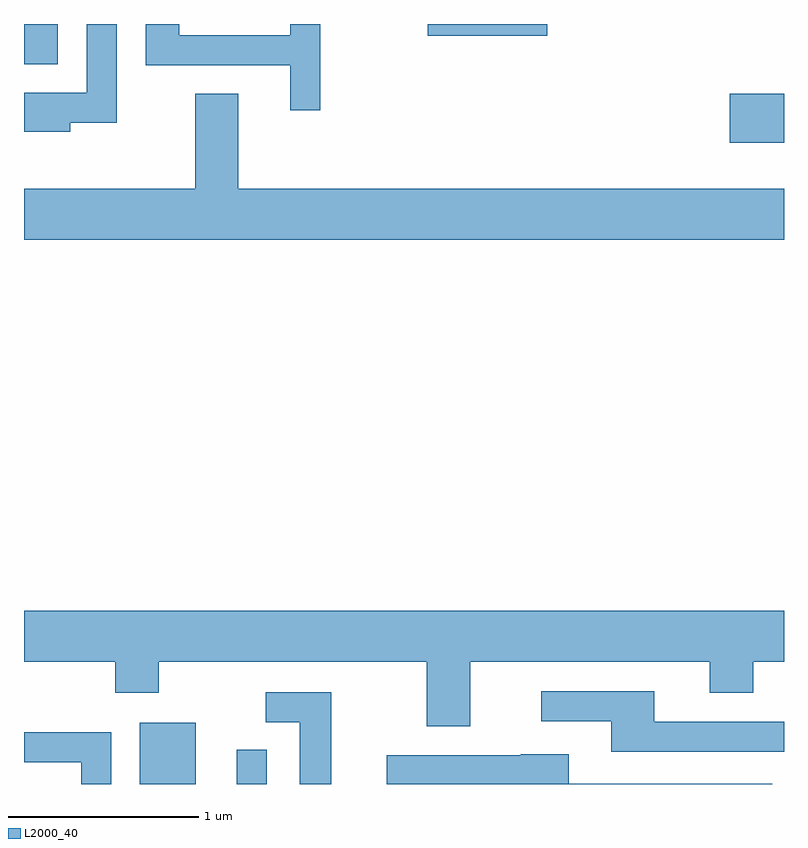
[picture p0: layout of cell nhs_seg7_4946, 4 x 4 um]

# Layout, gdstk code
import gdstk
lib = gdstk.Library(unit=1e-6, precision=1e-09)
def R(c, l, rs):  # rectangles x0, y0, x1, y1
    for r in rs: c.add(gdstk.rectangle(r[:2], r[2:], *l))
def P(c, l, *ps):  # polygons
    for p in ps: c.add(gdstk.Polygon(p, *l))
L2000_40 = (2000, 40)

nhs_seg7_4946 = lib.new_cell('nhs_seg7_4946')
R(nhs_seg7_4946, L2000_40, [(336.221,1800.252,336.514,1800.574), (336.731,1800.252,336.889,1800.433), (339.326,1803.626,339.611,1803.884), (335.611,1804.041,335.789,1804.252), (337.736,1804.191,338.364,1804.252)])
P(nhs_seg7_4946, L2000_40, [(337.169,1804.252),(337.011,1804.252),(337.011,1804.194),(336.429,1804.194),(336.429,1804.252),(336.251,1804.252),(336.251,1804.036),(337.011,1804.036),(337.011,1803.798),(337.169,1803.798)],
  [(335.854,1803.731),(336.099,1803.731),(336.099,1804.252),(335.941,1804.252),(335.941,1803.889),(335.611,1803.889),(335.611,1803.686),(335.854,1803.686)],
  [(339.611,1803.384),(336.739,1803.384),(336.739,1803.884),(336.511,1803.884),(336.511,1803.384),(335.611,1803.384),(335.611,1803.116),(339.611,1803.116)],
  [(337.959,1800.896),(339.221,1800.896),(339.221,1800.731),(339.449,1800.731),(339.449,1800.896),(339.611,1800.896),(339.611,1801.164),(335.611,1801.164),(335.611,1800.896),(336.091,1800.896),(336.091,1800.731),(336.319,1800.731),(336.319,1800.896),(337.731,1800.896),(337.731,1800.556),(337.959,1800.556)],
  [(339.611,1800.579),(338.929,1800.579),(338.929,1800.739),(338.333,1800.739),(338.333,1800.581),(338.701,1800.581),(338.701,1800.421),(339.611,1800.421)],
  [(337.229,1800.734),(336.883,1800.734),(336.883,1800.576),(337.061,1800.576),(337.061,1800.252),(337.229,1800.252)],
  [(336.069,1800.524),(335.611,1800.524),(335.611,1800.366),(335.911,1800.366),(335.911,1800.252),(336.069,1800.252)],
  [(339.548,1800.254),(338.479,1800.254),(338.479,1800.409),(338.225,1800.409),(338.225,1800.404),(337.521,1800.404),(337.521,1800.252),(339.548,1800.252)])

lib.write_gds('nhs_seg7_4946.gds')
